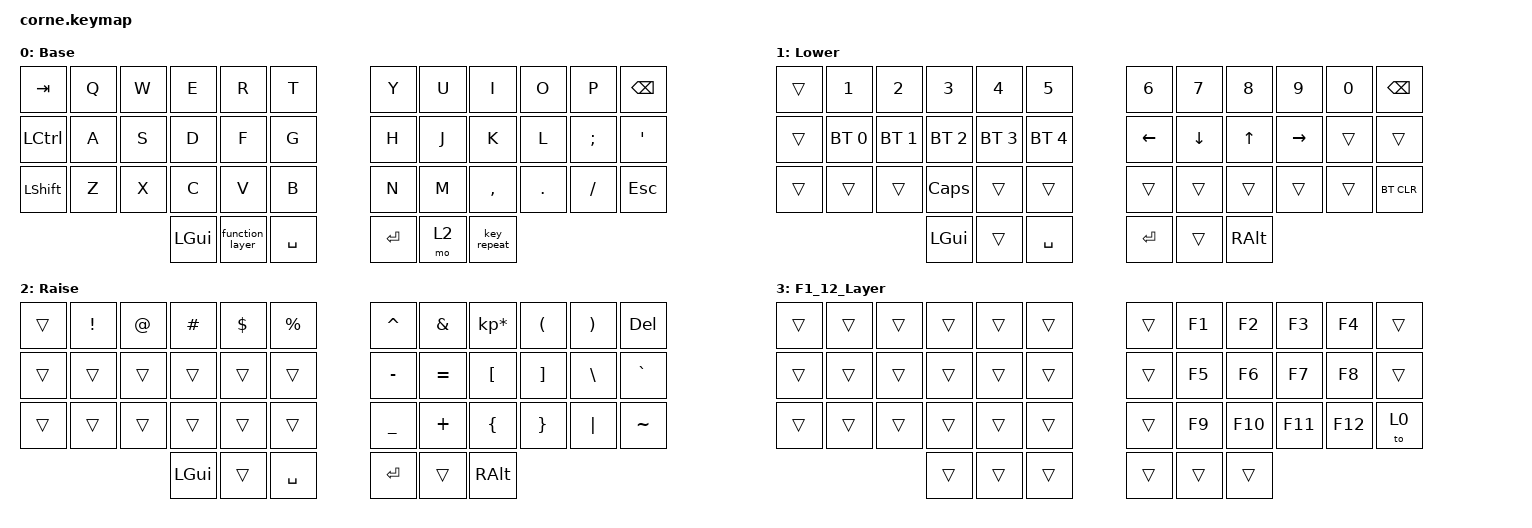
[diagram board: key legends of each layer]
/*
 * Copyright (c) 2020 The ZMK Contributors
 *
 * SPDX-License-Identifier: MIT
 */

#include <behaviors.dtsi>
#include <dt-bindings/zmk/bt.h>
#include <dt-bindings/zmk/keys.h>

&sk {
    release-after-ms = <500>;
    quick-release;
};

/ {
    combos {
        compatible = "zmk,combos";

        alt {
            bindings = <&sk LEFT_ALT>;
            key-positions = <37 40>;
            layers = <0>;
            slow-release;
        };

        ralt {
            bindings = <&kp RIGHT_ALT>;
            key-positions = <40 41>;
        };
    };

    behaviors {
        function_layer: function_layer {
            compatible = "zmk,behavior-tap-dance";
            label = "FUNCTION_LAYER";
            #binding-cells = <0>;
            bindings = <&mo 1>, <&mo 3>;

            tapping-term-ms = <300>;
        };
    };

    keymap {
        compatible = "zmk,keymap";

        default_layer {
            // -----------------------------------------------------------------------------------------
            // |  TAB |  Q  |  W  |  E  |  R  |  T  |   |  Y  |  U   |  I  |  O  |  P  | BKSP |
            // | CTRL |  A  |  S  |  D  |  F  |  G  |   |  H  |  J   |  K  |  L  |  ;  |  '   |
            // | SHFT |  Z  |  X  |  C  |  V  |  B  |   |  N  |  M   |  ,  |  .  |  /  | ESC  |
            //                    | GUI | LWR | SPC |   | ENT | RSE  | ALT |

            label = "Base";
            bindings = <
&kp TAB         &kp Q  &kp W  &kp E     &kp R            &kp T        &kp Y    &kp U  &kp I        &kp O    &kp P     &kp BSPC
&kp LCTRL       &kp A  &kp S  &kp D     &kp F            &kp G        &kp H    &kp J  &kp K        &kp L    &kp SEMI  &kp SQT
&kp LEFT_SHIFT  &kp Z  &kp X  &kp C     &kp V            &kp B        &kp N    &kp M  &kp COMMA    &kp DOT  &kp FSLH  &kp ESC
                              &kp LGUI  &function_layer  &kp SPACE    &kp RET  &mo 2  &key_repeat
            >;
        };

        lower_layer {
            // -----------------------------------------------------------------------------------------
            // |  TAB |  1  |  2  |  3  |  4  |  5  |   |  6  |  7  |  8  |  9  |  0  | BKSP |
            // | BTCLR| BT1 | BT2 | BT3 | BT4 | BT5 |   | LFT | DWN |  UP | RGT |     |      |
            // | SHFT |     |     |     |     |     |   |     |     |     |     |     |      |
            //                    | GUI |     | SPC |   | ENT |     | ALT |

            label = "Lower";
            bindings = <
&trans  &kp N1        &kp N2        &kp N3        &kp N4        &kp N5          &kp N6    &kp N7    &kp N8    &kp N9     &kp N0  &kp BACKSPACE
&trans  &bt BT_SEL 0  &bt BT_SEL 1  &bt BT_SEL 2  &bt BT_SEL 3  &bt BT_SEL 4    &kp LEFT  &kp DOWN  &kp UP    &kp RIGHT  &trans  &trans
&trans  &trans        &trans        &kp CAPSLOCK  &trans        &trans          &trans    &trans    &trans    &trans     &trans  &bt BT_CLR
                                    &kp LGUI      &trans        &kp SPACE       &kp RET   &trans    &kp RALT
            >;
        };

        raise_layer {
            // -----------------------------------------------------------------------------------------
            // |  TAB |  !  |  @  |  #  |  $  |  %  |   |  ^  |  &  |  *  |  (  |  )  | BKSP |
            // | CTRL |     |     |     |     |     |   |  -  |  =  |  [  |  ]  |  \  |  `   |
            // | SHFT |     |     |     |     |     |   |  _  |  +  |  {  |  }  | "|" |  ~   |
            //                    | GUI |     | SPC |   | ENT |     | ALT |

            label = "Raise";
            bindings = <
&trans  &kp EXCL  &kp AT  &kp HASH  &kp DLLR  &kp PRCNT    &kp CARET  &kp AMPS   &kp KP_MULTIPLY  &kp LPAR  &kp RPAR  &kp DELETE
&trans  &trans    &trans  &trans    &trans    &trans       &kp MINUS  &kp EQUAL  &kp LBKT         &kp RBKT  &kp BSLH  &kp GRAVE
&trans  &trans    &trans  &trans    &trans    &trans       &kp UNDER  &kp PLUS   &kp LBRC         &kp RBRC  &kp PIPE  &kp TILDE
                          &kp LGUI  &trans    &kp SPACE    &kp RET    &trans     &kp RALT
            >;
        };

        F1_12_Layer {
            bindings = <
&trans  &trans  &trans  &trans  &trans  &trans    &trans  &kp F1  &kp F2   &kp F3   &kp F4   &trans
&trans  &trans  &trans  &trans  &trans  &trans    &trans  &kp F5  &kp F6   &kp F7   &kp F8   &trans
&trans  &trans  &trans  &trans  &trans  &trans    &trans  &kp F9  &kp F10  &kp F11  &kp F12  &to 0
                        &trans  &trans  &trans    &trans  &trans  &trans
            >;
        };
    };

    conditional_layers { compatible = "zmk,conditional-layers"; };
};
